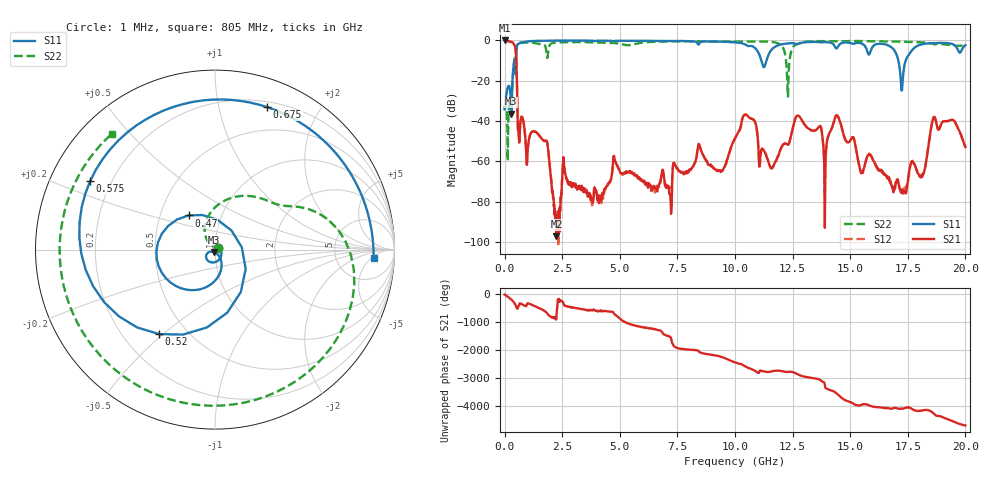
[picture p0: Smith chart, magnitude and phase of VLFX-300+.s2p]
! Mini-Circuits
! S2P DATA File Format
! Type: LOW PASS FILTER
! Model: VLFX-300+
! All S Parameters are in dB deg format
! TEST CONDITIONS: INPUT POWER = -10 dBm @ Temperature = +25deg C
# MHz S DB R 50
!Frequency  S11 dB  S11 DEG  S21 dB  S21 DEG  S12 dB  S12 DEG  S22 dB  S22 DEG
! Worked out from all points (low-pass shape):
!   1155 points, 1 MHz to 20 GHz, reference 50 ohm
!   highest |S21| = -0.16 dB at 1 MHz (marker M1); lowest = -97.1 dB at 2.25 GHz (marker M2)
!   |S21| within 3 dB of the highest: start of sweep to 451.9 MHz
!   lowest |S11| = -36.4 dB at 290 MHz (marker M3), VSWR 1.03, Z = 49.2 - j1.25 ohm
!   |S11| at or under -10 dB: start of sweep to 424.5 MHz; 11.14 GHz to 11.37 GHz (226.9 MHz wide, 2.02 % of centre); 17.09 GHz to 17.41 GHz (325.5 MHz wide, 1.89 % of centre)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
!   |S22| runs from -59.7 to -0.4 dB; largest |S21 - S12| = 0.00058
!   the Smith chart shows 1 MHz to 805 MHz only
!   S11 on the Smith chart (normalised r, x): 1 MHz: 1.04, +0.02; 470 MHz: 0.70, +0.28; 520 MHz: 0.35, -0.49; 575 MHz: 0.12, +0.25; 675 MHz: 0.25, +1.40; 805 MHz: 14, -6
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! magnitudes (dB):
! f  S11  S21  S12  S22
! 1 MHz  -34.3  -0.2  -0.2  -33.7
! 290 MHz  -36.4  -0.9  -0.9  -34.8
! 470 MHz  -12.4  -3.9  -3.9  -7.3
! 520 MHz  -5.0  -14.0  -14.0  -2.4
! 575 MHz  -2.0  -43.5  -43.4  -1.3
! 675 MHz  -1.5  -41.8  -41.9  -1.2
! 805 MHz  -1.1  -39.6  -39.6  -1.3
! 965 MHz  -0.7  -61.8  -61.7  -1.2
! 1.82 GHz  -0.3  -49.9  -49.8  -6.2
! 2.25 GHz  -0.3  -97.1  -95.2  -1.2
! 2.56 GHz  -0.2  -58.8  -58.6  -1.1
! 3.35 GHz  -0.2  -72.1  -74.1  -1.0
! 6.675 GHz  -0.3  -72.6  -72.9  -0.7
! 10.03 GHz  -1.1  -48.1  -48.0  -0.6
! 10.75 GHz  -3.0  -39.0  -39.0  -0.7
! 11.6 GHz  -4.6  -63.3  -63.6  -0.9
! 13.35 GHz  -0.9  -44.7  -44.7  -0.6
! 16.68 GHz  -2.7  -68.0  -68.4  -0.7
! 17.25 GHz  -24.8  -74.6  -73.9  -0.8
! 18.12 GHz  -2.0  -67.7  -66.6  -1.1
! 18.62 GHz  -1.4  -38.2  -38.2  -2.0
! 20 GHz  -2.5  -52.9  -53.1  -2.4
